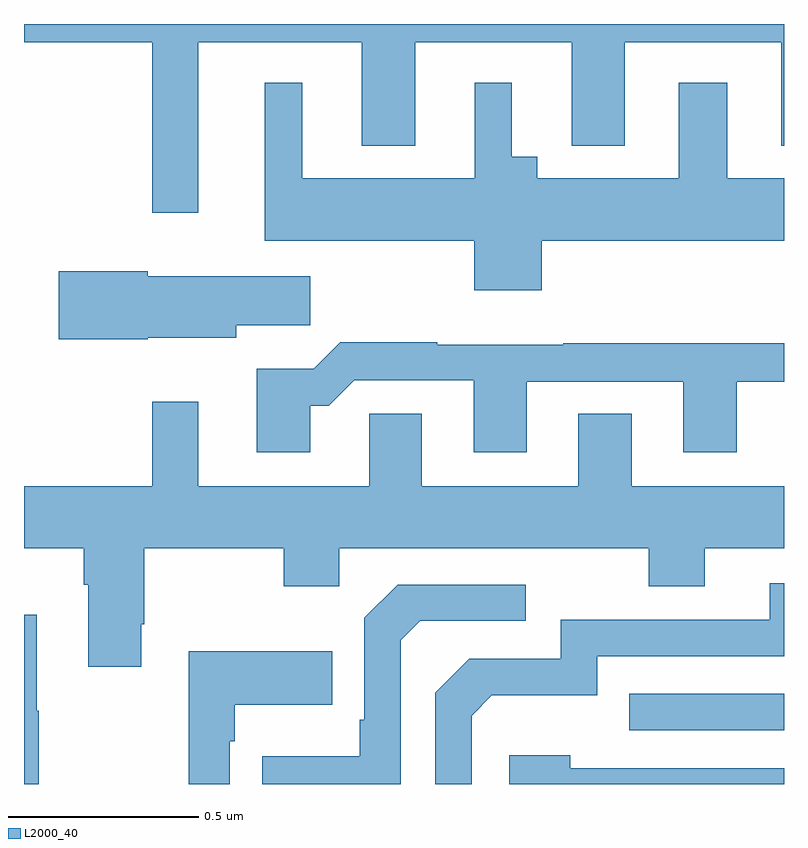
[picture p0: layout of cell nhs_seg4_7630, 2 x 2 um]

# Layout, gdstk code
import gdstk
lib = gdstk.Library(unit=1e-6, precision=1e-09)
def R(c, l, rs):  # rectangles x0, y0, x1, y1
    for r in rs: c.add(gdstk.rectangle(r[:2], r[2:], *l))
def P(c, l, *ps):  # polygons
    for p in ps: c.add(gdstk.Polygon(p, *l))
L2000_40 = (2000, 40)

nhs_seg4_7630 = lib.new_cell('nhs_seg4_7630')
R(nhs_seg4_7630, L2000_40, [(206.593,763.041,207,763.137)])
P(nhs_seg4_7630, L2000_40, [(205.459,764.852),(205.889,764.852),(205.889,764.579),(206.029,764.579),(206.029,764.852),(206.441,764.852),(206.441,764.579),(206.581,764.579),(206.581,764.852),(206.993,764.852),(206.993,764.579),(207,764.579),(207,764.9),(205,764.9),(205,764.852),(205.338,764.852),(205.338,764.403),(205.459,764.403)],
  [(206.363,764.33),(207,764.33),(207,764.494),(206.851,764.494),(206.851,764.746),(206.723,764.746),(206.723,764.494),(206.35,764.494),(206.35,764.551),(206.284,764.551),(206.284,764.746),(206.186,764.746),(206.186,764.494),(205.732,764.494),(205.732,764.746),(205.634,764.746),(205.634,764.33),(206.185,764.33),(206.185,764.199),(206.363,764.199)],
  [(205.326,764.075),(205.558,764.075),(205.558,764.107),(205.753,764.107),(205.753,764.236),(205.326,764.236),(205.326,764.249),(205.092,764.249),(205.092,764.071),(205.326,764.071)],
  [(205.753,763.895),(205.802,763.895),(205.869,763.962),(206.183,763.962),(206.183,763.773),(206.323,763.773),(206.323,763.959),(206.735,763.959),(206.735,763.773),(206.875,763.773),(206.875,763.959),(207,763.959),(207,764.06),(206.419,764.06),(206.419,764.056),(206.087,764.056),(206.087,764.063),(205.832,764.063),(205.762,763.993),(205.613,763.993),(205.613,763.773),(205.753,763.773)],
  [(205.309,763.321),(205.317,763.321),(205.317,763.52),(205.684,763.52),(205.684,763.421),(205.83,763.421),(205.83,763.52),(206.644,763.52),(206.644,763.421),(206.791,763.421),(206.791,763.52),(207,763.52),(207,763.684),(206.599,763.684),(206.599,763.874),(206.459,763.874),(206.459,763.684),(206.047,763.684),(206.047,763.874),(205.908,763.874),(205.908,763.684),(205.459,763.684),(205.459,763.906),(205.338,763.906),(205.338,763.684),(205,763.684),(205,763.52),(205.157,763.52),(205.157,763.424),(205.169,763.424),(205.169,763.209),(205.309,763.209)],
  [(206.178,763.08),(206.231,763.133),(206.508,763.133),(206.508,763.236),(207,763.236),(207,763.428),(206.963,763.428),(206.963,763.332),(206.412,763.332),(206.412,763.23),(206.172,763.23),(206.082,763.14),(206.082,762.9),(206.178,762.9)],
  [(205.992,763.278),(206.043,763.329),(206.32,763.329),(206.32,763.425),(205.983,763.425),(205.896,763.338),(205.896,763.069),(205.884,763.069),(205.884,762.973),(205.627,762.973),(205.627,762.9),(205.992,762.9)],
  [(205.039,763.093),(205.033,763.093),(205.033,763.345),(205,763.345),(205,762.9),(205.039,762.9)],
  [(205.542,763.013),(205.555,763.013),(205.555,763.109),(205.811,763.109),(205.811,763.249),(205.434,763.249),(205.434,762.9),(205.542,762.9)],
  [(207,762.942),(206.438,762.942),(206.438,762.976),(206.277,762.976),(206.277,762.9),(207,762.9)])

lib.write_gds('nhs_seg4_7630.gds')
